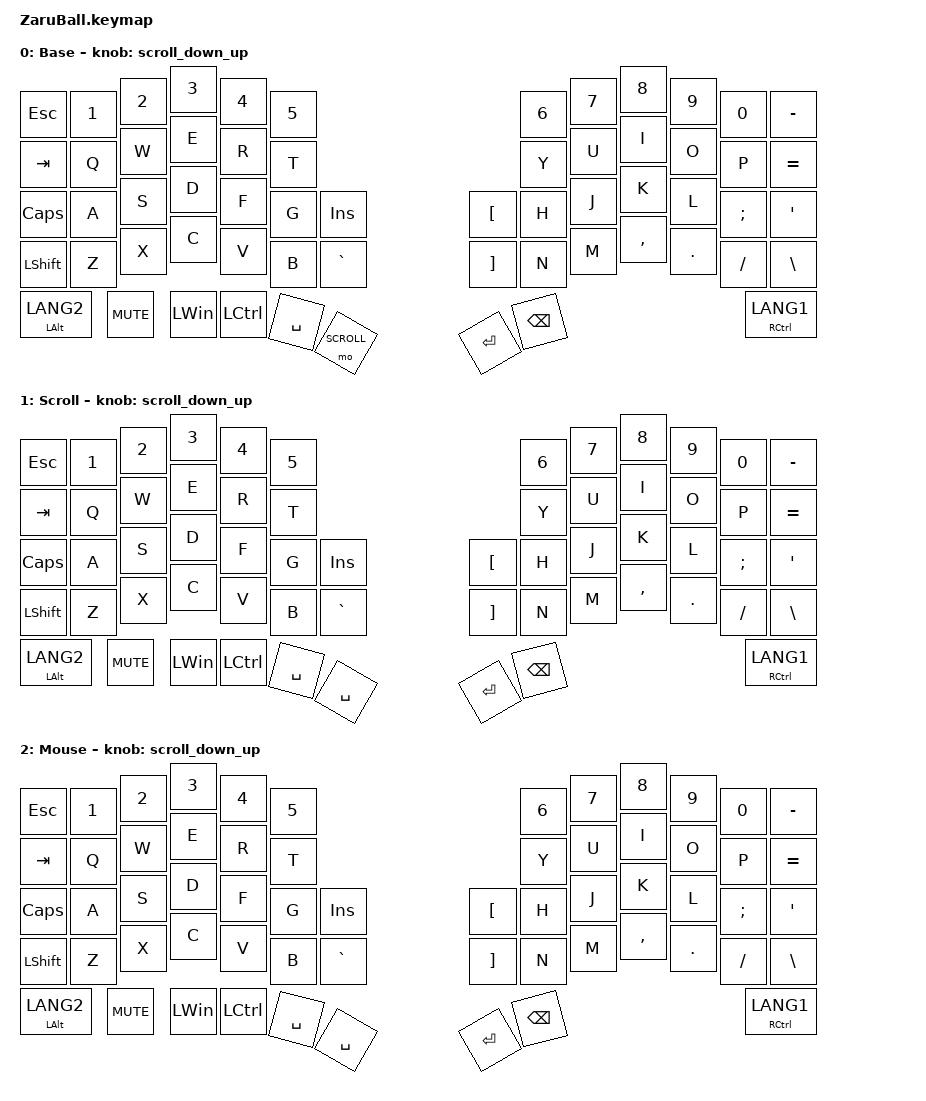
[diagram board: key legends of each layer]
#include <behaviors/rgbled_widget.dtsi>
#include <behaviors.dtsi>
#include <dt-bindings/zmk/bt.h>
#include <dt-bindings/zmk/keys.h>
#include <dt-bindings/zmk/outputs.h>
#include <dt-bindings/zmk/pointing.h>

#include <input/processors.dtsi>
#include <dt-bindings/zmk/input_transform.h>

#define BASE 0
#define SCROLL 1
#define MOUSE 2


/ {
    behaviors {
        // ロータリーエンコーダ等のスクロール用の設定
        scroll_down_up: behavior_sensor_rotate_mouse_wheel_down_up {
            compatible = "zmk,behavior-sensor-rotate";
            #sensor-binding-cells = <0>;
            bindings = <&msc SCRL_DOWN>, <&msc SCRL_UP>;
            tap-ms = <20>; // スクロールのタップ時間
        };
    };
};

/ {
    keymap {
        compatible = "zmk,keymap";

        base_layer {
            display-name = "Base";
            sensor-bindings = <&scroll_down_up>;
            bindings = <
&kp ESC    &kp N1  &kp N2      &kp N3    &kp N4     &kp N5                                &kp N6    &kp N7    &kp N8    &kp N9     &kp N0   &kp MINUS
&kp TAB    &kp Q   &kp W       &kp E     &kp R      &kp T                                 &kp Y     &kp U     &kp I     &kp O      &kp P    &kp EQUAL
&kp CAPS   &kp A   &kp S       &kp D     &kp F      &kp G      &kp INS         &kp LBKT   &kp H     &kp J     &kp K     &kp L      &kp SEMI &kp SQT
&kp LSHFT  &kp Z   &kp X       &kp C     &kp V      &kp B      &kp GRAVE       &kp RBKT   &kp N     &kp M     &kp COMMA &kp DOT    &kp FSLH &kp BACKSLASH
&mt LALT LANG2     &kp C_MUTE  &kp LWIN  &kp LCTRL  &kp SPACE  &mo SCROLL       &kp RET    &kp BSPC                                          &mt RCTL LANG1
            >;
        };
        Scroll_layer {
            display-name = "Scroll";
            sensor-bindings = <&scroll_down_up>;
            bindings = <
&kp ESC    &kp N1  &kp N2      &kp N3    &kp N4     &kp N5                                &kp N6    &kp N7    &kp N8    &kp N9     &kp N0   &kp MINUS
&kp TAB    &kp Q   &kp W       &kp E     &kp R      &kp T                                 &kp Y     &kp U     &kp I     &kp O      &kp P    &kp EQUAL
&kp CAPS   &kp A   &kp S       &kp D     &kp F      &kp G      &kp INS         &kp LBKT   &kp H     &kp J     &kp K     &kp L      &kp SEMI &kp SQT
&kp LSHFT  &kp Z   &kp X       &kp C     &kp V      &kp B      &kp GRAVE       &kp RBKT   &kp N     &kp M     &kp COMMA &kp DOT    &kp FSLH &kp BACKSLASH
&mt LALT LANG2     &kp C_MUTE  &kp LWIN  &kp LCTRL  &kp SPACE  &kp SPACE       &kp RET    &kp BSPC                                          &mt RCTL LANG1
            >;
        };
        mouse_layer {
            display-name = "Mouse";
            sensor-bindings = <&scroll_down_up>;
            bindings = <
&kp ESC    &kp N1  &kp N2      &kp N3    &kp N4     &kp N5                                &kp N6    &kp N7    &kp N8    &kp N9     &kp N0   &kp MINUS
&kp TAB    &kp Q   &kp W       &kp E     &kp R      &kp T                                 &kp Y     &kp U     &kp I     &kp O      &kp P    &kp EQUAL
&kp CAPS   &kp A   &kp S       &kp D     &kp F      &kp G      &kp INS         &kp LBKT   &kp H     &kp J     &kp K     &kp L      &kp SEMI &kp SQT
&kp LSHFT  &kp Z   &kp X       &kp C     &kp V      &kp B      &kp GRAVE       &kp RBKT   &kp N     &kp M     &kp COMMA &kp DOT    &kp FSLH &kp BACKSLASH
&mt LALT LANG2     &kp C_MUTE  &kp LWIN  &kp LCTRL  &kp SPACE  &kp SPACE       &kp RET    &kp BSPC                                          &mt RCTL LANG1
            >;
        };
    };
};
